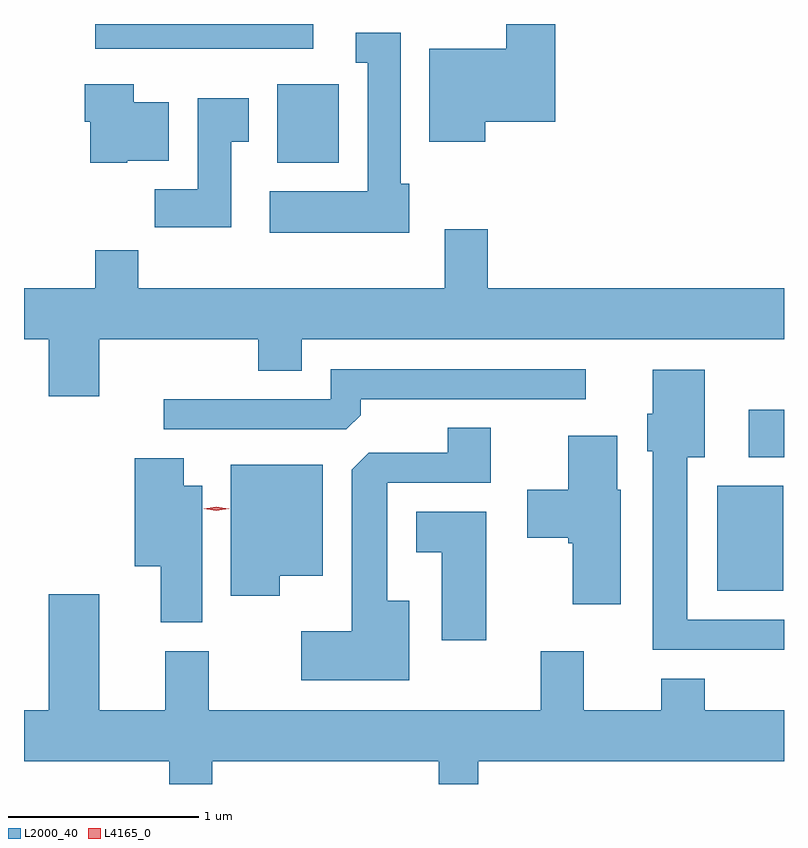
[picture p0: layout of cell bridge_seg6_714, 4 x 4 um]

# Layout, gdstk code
import gdstk
lib = gdstk.Library(unit=1e-6, precision=1e-09)
def R(c, l, rs):  # rectangles x0, y0, x1, y1
    for r in rs: c.add(gdstk.rectangle(r[:2], r[2:], *l))
def P(c, l, *ps):  # polygons
    for p in ps: c.add(gdstk.Polygon(p, *l))
L2000_40 = (2000, 40)
L4165_0 = (4165, 0)

bridge_seg6_714 = lib.new_cell('bridge_seg6_714')
R(bridge_seg6_714, L2000_40, [(558.256,1559.811,558.604,1560.364), (558.421,1560.516,558.607,1560.764), (555.941,1562.066,556.264,1562.479), (554.981,1562.666,556.129,1562.795)])
P(bridge_seg6_714, L2000_40, [(557.034,1562.281),(557.404,1562.281),(557.404,1562.795),(557.146,1562.795),(557.146,1562.664),(556.741,1562.664),(556.741,1562.176),(557.034,1562.176)],
  [(556.634,1561.954),(556.589,1561.954),(556.589,1562.749),(556.353,1562.749),(556.353,1562.591),(556.416,1562.591),(556.416,1561.914),(555.901,1561.914),(555.901,1561.696),(556.634,1561.696)],
  [(555.15,1562.076),(555.369,1562.076),(555.369,1562.384),(555.184,1562.384),(555.184,1562.479),(554.926,1562.479),(554.926,1562.281),(554.956,1562.281),(554.956,1562.066),(555.15,1562.066)],
  [(555.699,1562.176),(555.789,1562.176),(555.789,1562.404),(555.521,1562.404),(555.521,1561.924),(555.296,1561.924),(555.296,1561.726),(555.699,1561.726)],
  [(555.004,1561.136),(555.841,1561.136),(555.841,1560.971),(556.069,1560.971),(556.069,1561.136),(558.607,1561.136),(558.607,1561.404),(557.049,1561.404),(557.049,1561.714),(556.821,1561.714),(556.821,1561.404),(555.209,1561.404),(555.209,1561.604),(554.981,1561.604),(554.981,1561.404),(554.607,1561.404),(554.607,1561.136),(554.736,1561.136),(554.736,1560.836),(555.004,1560.836)],
  [(556.379,1560.737),(556.379,1560.821),(557.563,1560.821),(557.563,1560.979),(556.221,1560.979),(556.221,1560.819),(555.343,1560.819),(555.343,1560.661),(556.304,1560.661)],
  [(558.607,1559.659),(558.099,1559.659),(558.099,1560.516),(558.189,1560.516),(558.189,1560.974),(557.916,1560.974),(557.916,1560.744),(557.886,1560.744),(557.886,1560.546),(557.916,1560.546),(557.916,1559.501),(558.607,1559.501)],
  [(556.634,1559.759),(556.519,1559.759),(556.519,1560.381),(557.064,1560.381),(557.064,1560.669),(556.836,1560.669),(556.836,1560.539),(556.422,1560.539),(556.331,1560.449),(556.331,1559.599),(556.066,1559.599),(556.066,1559.341),(556.634,1559.341)],
  [(557.749,1560.344),(557.729,1560.344),(557.729,1560.629),(557.471,1560.629),(557.471,1560.344),(557.256,1560.344),(557.256,1560.091),(557.471,1560.091),(557.471,1560.061),(557.496,1560.061),(557.496,1559.741),(557.749,1559.741)],
  [(555.544,1560.364),(555.449,1560.364),(555.449,1560.509),(555.191,1560.509),(555.191,1559.941),(555.326,1559.941),(555.326,1559.646),(555.544,1559.646)],
  [(555.954,1559.891),(556.179,1559.891),(556.179,1560.474),(555.696,1560.474),(555.696,1559.786),(555.954,1559.786)],
  [(557.039,1560.229),(556.671,1560.229),(556.671,1560.016),(556.806,1560.016),(556.806,1559.551),(557.039,1559.551)],
  [(555.599,1558.916),(556.791,1558.916),(556.791,1558.795),(556.999,1558.795),(556.999,1558.916),(558.607,1558.916),(558.607,1559.184),(558.189,1559.184),(558.189,1559.349),(557.961,1559.349),(557.961,1559.184),(557.554,1559.184),(557.554,1559.494),(557.326,1559.494),(557.326,1559.184),(555.579,1559.184),(555.579,1559.494),(555.351,1559.494),(555.351,1559.184),(555.004,1559.184),(555.004,1559.794),(554.736,1559.794),(554.736,1559.184),(554.607,1559.184),(554.607,1558.916),(555.371,1558.916),(555.371,1558.795),(555.599,1558.795)])
P(bridge_seg6_714, L4165_0, [(555.619,1560.234),(555.553,1560.244),(555.553,1560.245),(555.553,1560.245),(555.619,1560.254),(555.685,1560.245),(555.686,1560.244),(555.685,1560.244)])

lib.write_gds('bridge_seg6_714.gds')
